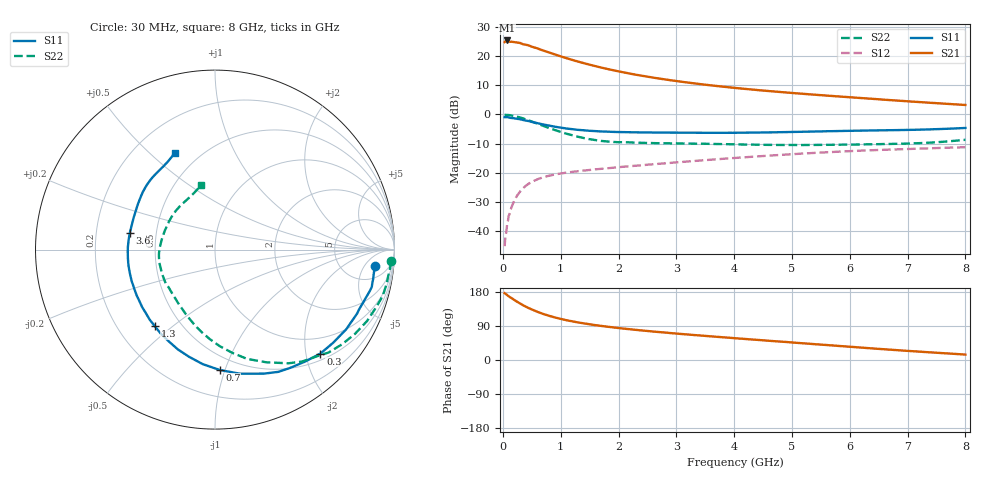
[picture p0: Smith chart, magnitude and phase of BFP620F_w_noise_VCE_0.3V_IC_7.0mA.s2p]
! Infineon Technologies  Discrete & RF Semiconductors
! BFP620F
! VCE =  0.3 V,  IC =  7.0 mA
! Common Emitter S-Parameters:  Dec 2014
# GHz  S  MA  R  50
!  f  S11  S21  S12  S22
! GHz  MAG  ANG  MAG  ANG  MAG  ANG  MAG  ANG
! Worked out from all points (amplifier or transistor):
!   95 points, 30 MHz to 8 GHz, reference 50 ohm
!   highest |S21| = 25.3 dB at 70 MHz (marker M1)
!   |S21| within 3 dB of that: start of sweep to 635.2 MHz
!   unconditionally stable (mu >= 1): 4.234 GHz to end of sweep
!   at 300 MHz: K = 0.11, MSG = 25.4 dB, |S12| = -26.4 dB
!   at 3.3 GHz: K = 0.93, MSG = 13.3 dB, |S12| = -16.0 dB
!   at 8 GHz: K = 1.13, MAG = 5.1 dB, |S12| = -11.3 dB
!   lowest NFmin = 0.55 dB at 450 MHz
!   S11 on the Smith chart (normalised r, x): 30 MHz: 10, -9; 300 MHz: 0.63, -2.29; 700 MHz: 0.39, -0.96; 1.3 GHz: 0.36, -0.43; 3.6 GHz: 0.35, +0.08; 8 GHz: 0.37, +0.60
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0.03  0.8967 -5.8  17.33 176.4  0.0055 84.8  0.982 -3.8
0.05  0.8948 -9.0  18.11 174.0  0.0088 81.2  0.9802 -6.5
0.07  0.8962 -11.8  18.51 171.9  0.0121 83.8  0.976 -8.9
0.09  0.8933 -14.8  18.33 169.5  0.0152 82.9  0.9754 -11.4
0.12  0.8762 -19.8  17.61 166.2  0.0207 80.3  0.9681 -15.3
0.2  0.8553 -31.3  17.3 158.2  0.0338 74.2  0.9362 -25.1
0.3  0.825 -44.6  16.73 148.9  0.0478 67.4  0.883 -36.7
0.35  0.8006 -51.2  15.92 144.5  0.0542 64.5  0.8538 -42.2
0.45  0.7672 -62.6  15.15 136.8  0.0651 58.8  0.7896 -52.2
0.6  0.7055 -78.6  13.49 127.0  0.0773 52.1  0.6901 -65.5
0.7  0.671 -87.8  12.41 121.4  0.0837 48.7  0.6347 -73.6
0.8  0.6418 -96.1  11.5 116.6  0.0888 46.0  0.584 -80.4
1  0.593 -110.5  9.884 108.5  0.0969 42.1  0.5004 -93.2
1.3  0.5428 -128.1  8.035 99.2  0.1061 38.8  0.4129 -109.7
1.4  0.5338 -132.9  7.556 96.7  0.1089 38.1  0.3929 -114.8
1.9  0.5012 -152.9  5.735 86.2  0.1215 36.2  0.3369 -137.3
2.7  0.4878 -174.0  4.12 73.8  0.1422 34.3  0.3202 -160.3
3.6  0.4832 169.2  3.144 62.4  0.167 32.1  0.312 -177.1
4.1  0.4847 161.3  2.789 56.5  0.1815 30.4  0.3049 174.6
5.4  0.5088 144.1  2.172 41.7  0.2188 24.0  0.2995 151.6
6.7  0.5353 128.1  1.757 27.2  0.2491 15.9  0.3114 128.1
8  0.585 112.5  1.45 14.3  0.2734 7.8  0.3665 102.1
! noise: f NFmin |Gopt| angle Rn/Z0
0.45  0.55  0.38  9  0.25
0.9  0.61  0.35  19  0.22
1.5  0.68  0.32  24  0.19
1.8  0.71  0.3  27  0.18
1.9  0.72  0.25  40  0.19
2.4  0.77  0.22  56  0.17
3.5  0.88  0.21  75  0.14
5.5  1.08  0.14  162  0.12
6  1.12  0.11  185  0.21
